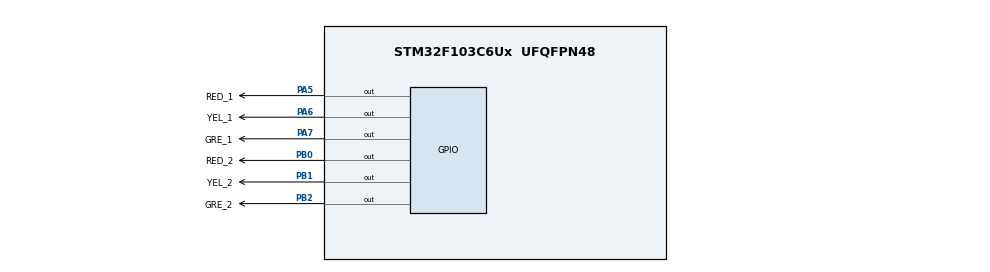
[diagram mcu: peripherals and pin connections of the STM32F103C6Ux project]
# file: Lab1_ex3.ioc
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Mcu.Family=STM32F1
Mcu.Name=STM32F103C6Ux
Mcu.Package=UFQFPN48
NVIC.PriorityGroup=NVIC_PRIORITYGROUP_4
PA5.GPIO_Label=RED_1
PA5.Signal=GPIO_Output
PA6.GPIO_Label=YEL_1
PA6.Signal=GPIO_Output
PA7.GPIO_Label=GRE_1
PA7.Signal=GPIO_Output
PB0.GPIO_Label=RED_2
PB0.Signal=GPIO_Output
PB1.GPIO_Label=YEL_2
PB1.Signal=GPIO_Output
PB2.GPIO_Label=GRE_2
PB2.Signal=GPIO_Output
ProjectManager.HeapSize=0x200
ProjectManager.StackSize=0x400
ProjectManager.TargetToolchain=STM32CubeIDE
RCC.APB1Freq_Value=8000000
RCC.APB2Freq_Value=8000000
VP_SYS_VS_ND.Mode=No_Debug
board=custom

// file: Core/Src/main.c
/* USER CODE BEGIN Header */
/**
  ******************************************************************************
  * @file           : main.c
  * @brief          : Main program body
  ******************************************************************************
  * @attention
  *
  * <h2><center>&copy; Copyright (c) 2023 STMicroelectronics.
  * All rights reserved.</center></h2>
  *
  * This software component is licensed by ST under BSD 3-Clause license,
  * the "License"; You may not use this file except in compliance with the
  * License. You may obtain a copy of the License at:
  *                        opensource.org/licenses/BSD-3-Clause
  *
  ******************************************************************************
  */
/* USER CODE END Header */
#include "main.h"

void SystemClock_Config(void);
static void MX_GPIO_Init(void);

/* USER CODE BEGIN 0 */
enum _2WaysState {
      	RED1_GREEN2,
		RED1_YELLOW2,
		RED2_GREEN1,
		RED2_YELLOW1,
  };
  enum LightState {
	  RED1,
	  GREEN1,
	  YELLOW1,
	  RED2,
	  GREEN2,
	  YELLOW2
  };
  int counter = 3;
    enum _2WaysState finiteState = RED1_GREEN2;
    void lightState(enum LightState light) {
  	  switch(light) {
  	  case RED1:
  		  HAL_GPIO_WritePin(RED_1_GPIO_Port, RED_1_Pin, 1);
  		  HAL_GPIO_WritePin(YEL_1_GPIO_Port, YEL_1_Pin, 0);
  		  HAL_GPIO_WritePin(GRE_1_GPIO_Port, GRE_1_Pin, 0);
  		  break;
  	  case GREEN1:
  		  HAL_GPIO_WritePin(RED_1_GPIO_Port, RED_1_Pin, 0);
  		  HAL_GPIO_WritePin(YEL_1_GPIO_Port, YEL_1_Pin, 0);
  		  HAL_GPIO_WritePin(GRE_1_GPIO_Port, GRE_1_Pin, 1);
  		  break;
  	  case YELLOW1:
  		  HAL_GPIO_WritePin(RED_1_GPIO_Port, RED_1_Pin, 0);
  		  HAL_GPIO_WritePin(YEL_1_GPIO_Port, YEL_1_Pin, 1);
  		  HAL_GPIO_WritePin(GRE_1_GPIO_Port, GRE_1_Pin, 0);
  		  break;
  	  case RED2:
  		  HAL_GPIO_WritePin(RED_2_GPIO_Port, RED_2_Pin, 1);
  		  HAL_GPIO_WritePin(YEL_2_GPIO_Port, YEL_2_Pin, 0);
  		  HAL_GPIO_WritePin(GRE_2_GPIO_Port, GRE_2_Pin, 0);
  		  break;
  	  case GREEN2:
  		  HAL_GPIO_WritePin(RED_2_GPIO_Port, RED_2_Pin, 0);
  		  HAL_GPIO_WritePin(YEL_2_GPIO_Port, YEL_2_Pin, 0);
  		  HAL_GPIO_WritePin(GRE_2_GPIO_Port, GRE_2_Pin, 1);
  		  break;
  	  case YELLOW2:
  		  HAL_GPIO_WritePin(RED_2_GPIO_Port, RED_2_Pin, 0);
  		  HAL_GPIO_WritePin(YEL_2_GPIO_Port, YEL_2_Pin, 1);
  		  HAL_GPIO_WritePin(GRE_2_GPIO_Port, GRE_2_Pin, 0);
  		  break;
  	  }
    }
/* USER CODE END 0 */

int main(void)
{

  /* MCU Configuration--------------------------------------------------------*/

  /* Reset of all peripherals, Initializes the Flash interface and the Systick. */
  HAL_Init();

  /* Configure the system clock */
  SystemClock_Config();

  /* Initialize all configured peripherals */
  MX_GPIO_Init();
  /* USER CODE BEGIN 2 */
//	  HAL_GPIO_TogglePin(GRE_1_GPIO_Port, YEL_1_Pin);
//	  HAL_GPIO_TogglePin(RED_2_GPIO_Port, RED_2_Pin);
  /* USER CODE END 2 */

  /* Infinite loop */
  /* USER CODE BEGIN WHILE */
  while (1)
  {
	  switch (finiteState) {
	  case RED1_GREEN2:
		  lightState(RED1);
		  lightState(GREEN2);
		  if(counter == 0) {
			  finiteState = RED1_YELLOW2;
			  counter = 2;
		  }
		  break;
	  case RED1_YELLOW2:
		  lightState(RED1);
		  lightState(YELLOW2);
		  if(counter == 0) {
			  finiteState = RED2_GREEN1;
			  counter = 3;
		  }
		  break;
	  case RED2_GREEN1:
		  lightState(RED2);
		  lightState(GREEN1);
		  if(counter == 0) {
			  finiteState = RED2_YELLOW1;
			  counter = 2;
		  }
		  break;
	  case RED2_YELLOW1:
		  lightState(RED2);
		  lightState(YELLOW1);
		  if(counter == 0) {
			  finiteState = RED1_GREEN2;
			  counter = 3;
		  }
		  break;
	  }
	  HAL_Delay(1000);
	  counter--;
    /* USER CODE END WHILE */

  }
}

void SystemClock_Config(void)
{
  RCC_OscInitTypeDef RCC_OscInitStruct = {0};
  RCC_ClkInitTypeDef RCC_ClkInitStruct = {0};

  /** Initializes the RCC Oscillators according to the specified parameters
  * in the RCC_OscInitTypeDef structure.
  */
  RCC_OscInitStruct.OscillatorType = RCC_OSCILLATORTYPE_HSI;
  RCC_OscInitStruct.HSIState = RCC_HSI_ON;
  RCC_OscInitStruct.HSICalibrationValue = RCC_HSICALIBRATION_DEFAULT;
  RCC_OscInitStruct.PLL.PLLState = RCC_PLL_NONE;
  if (HAL_RCC_OscConfig(&RCC_OscInitStruct) != HAL_OK)
  {
    Error_Handler();
  }
  /** Initializes the CPU, AHB and APB buses clocks
  */
  RCC_ClkInitStruct.ClockType = RCC_CLOCKTYPE_HCLK|RCC_CLOCKTYPE_SYSCLK
                              |RCC_CLOCKTYPE_PCLK1|RCC_CLOCKTYPE_PCLK2;
  RCC_ClkInitStruct.SYSCLKSource = RCC_SYSCLKSOURCE_HSI;
  RCC_ClkInitStruct.AHBCLKDivider = RCC_SYSCLK_DIV1;
  RCC_ClkInitStruct.APB1CLKDivider = RCC_HCLK_DIV1;
  RCC_ClkInitStruct.APB2CLKDivider = RCC_HCLK_DIV1;

  if (HAL_RCC_ClockConfig(&RCC_ClkInitStruct, FLASH_LATENCY_0) != HAL_OK)
  {
    Error_Handler();
  }
}

static void MX_GPIO_Init(void)
{
  GPIO_InitTypeDef GPIO_InitStruct = {0};

  /* GPIO Ports Clock Enable */
  __HAL_RCC_GPIOA_CLK_ENABLE();
  __HAL_RCC_GPIOB_CLK_ENABLE();

  /*Configure GPIO pin Output Level */
  HAL_GPIO_WritePin(RED_1_GPIO_Port, RED_1_Pin, GPIO_PIN_SET);
  HAL_GPIO_WritePin(YEL_1_GPIO_Port, YEL_1_Pin, GPIO_PIN_SET);
  HAL_GPIO_WritePin(GRE_1_GPIO_Port, GRE_1_Pin, GPIO_PIN_SET);

  /*Configure GPIO pin Output Level */
  HAL_GPIO_WritePin(RED_2_GPIO_Port, RED_2_Pin, GPIO_PIN_SET);
  HAL_GPIO_WritePin(YEL_2_GPIO_Port, YEL_2_Pin, GPIO_PIN_SET);
  HAL_GPIO_WritePin(GRE_2_GPIO_Port, GRE_2_Pin, GPIO_PIN_SET);

  /*Configure GPIO pins : RED_1_Pin YEL_1_Pin GRE_1_Pin */
  GPIO_InitStruct.Pin = RED_1_Pin|YEL_1_Pin|GRE_1_Pin;
  GPIO_InitStruct.Mode = GPIO_MODE_OUTPUT_PP;
  GPIO_InitStruct.Pull = GPIO_NOPULL;
  GPIO_InitStruct.Speed = GPIO_SPEED_FREQ_LOW;
  HAL_GPIO_Init(GPIOA, &GPIO_InitStruct);

  /*Configure GPIO pins : RED_2_Pin YEL_2_Pin GRE_2_Pin */
  GPIO_InitStruct.Pin = RED_2_Pin|YEL_2_Pin|GRE_2_Pin;
  GPIO_InitStruct.Mode = GPIO_MODE_OUTPUT_PP;
  GPIO_InitStruct.Pull = GPIO_NOPULL;
  GPIO_InitStruct.Speed = GPIO_SPEED_FREQ_LOW;
  HAL_GPIO_Init(GPIOB, &GPIO_InitStruct);

}

void Error_Handler(void)
{
  __disable_irq();
  while (1)
  {
  }
}

/************************ (C) COPYRIGHT STMicroelectronics *****END OF FILE****/
